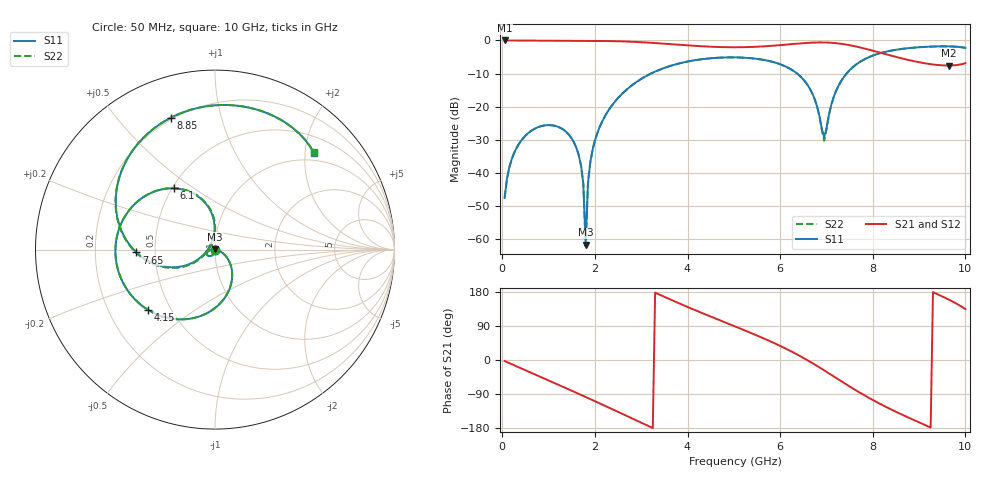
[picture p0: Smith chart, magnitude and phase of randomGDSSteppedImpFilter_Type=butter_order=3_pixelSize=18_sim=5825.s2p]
! freq	dB(S11)	phase(S11)	dB(S12)	phase(S12)
!  dB(S21)	phase(S21)	dB(S22)	phase(S22)
!S-par simulation data
#  GHz  S  DB  R 50
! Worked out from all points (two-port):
!   200 points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, 50 MHz to 10 GHz, reference 50 ohm
!   highest |S21| = 0.00 dB at 50 MHz (marker M1); lowest = -7.6 dB at 9.65 GHz (marker M2)
!   |S21| within 3 dB of the highest: start of sweep to 7.976 GHz
!   lowest |S11| = -61.7 dB at 1.8 GHz (marker M3), VSWR 1.00, Z = 50 + j0.0781 ohm
!   |S11| at or under -10 dB: start of sweep to 3.212 GHz; 6.366 GHz to 7.435 GHz (1.069 GHz wide, 15.5 % of centre)
!   |S22| runs from -62.2 to -1.8 dB; largest |S21 - S12| = 0
!   S11 on the Smith chart (normalised r, x): 50 MHz: 1.00, -0.01; 4.15 GHz: 0.38, -0.34; 6.1 GHz: 0.51, +0.42; 7.65 GHz: 0.39, -0.02; 8.85 GHz: 0.19, +0.70; 10 GHz: 0.82, +2.19
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0.05  -47.58 -87.9  -0.00 -2.7  -0.00 -2.7  -47.58 -88.0
0.3  -32.69 -105.7  -0.03 -16.3  -0.03 -16.3  -32.69 -105.7
0.9  -25.71 -139.3  -0.07 -48.6  -0.07 -48.6  -25.71 -139.2
1.5  -29.65 -172.2  -0.10 -81.1  -0.10 -81.1  -29.65 -172.1
1.75  -43.40 171.3  -0.11 -94.8  -0.11 -94.8  -43.41 172.2
1.8  -61.69 108.4  -0.11 -97.5  -0.11 -97.5  -62.16 112.7
1.85  -43.21 -7.9  -0.12 -100.3  -0.12 -100.3  -43.21 -8.8
1.9  -36.83 -12.3  -0.12 -103.1  -0.12 -103.1  -36.83 -12.8
2.1  -26.25 -24.6  -0.15 -114.3  -0.15 -114.3  -26.25 -24.7
2.8  -13.54 -64.7  -0.40 -154.0  -0.40 -154.0  -13.54 -64.8
3.4  -8.83 -98.3  -0.88 172.2  -0.88 172.2  -8.83 -98.4
4.15  -5.99 -137.8  -1.63 132.3  -1.63 132.3  -5.99 -137.9
5.05  -5.12 178.0  -2.06 87.4  -2.06 87.4  -5.12 177.8
6.1  -7.75 123.6  -1.30 31.3  -1.30 31.3  -7.75 123.3
6.7  -16.18 91.9  -0.66 -8.4  -0.66 -8.4  -16.21 90.6
6.95  -29.25 151.1  -0.61 -27.2  -0.61 -27.2  -30.30 151.0
7.2  -15.47 -150.7  -0.82 -46.6  -0.82 -46.6  -15.51 -149.2
7.65  -7.17 -177.9  -1.87 -81.0  -1.87 -81.0  -7.18 -177.4
8.35  -3.20 136.9  -4.42 -127.7  -4.42 -127.7  -3.20 137.2
8.85  -2.22 108.6  -6.15 -156.4  -6.15 -156.4  -2.22 108.8
9.65  -1.80 65.6  -7.58 158.9  -7.58 158.9  -1.80 65.8
10  -2.25 44.4  -6.88 134.3  -6.88 134.3  -2.25 44.6
